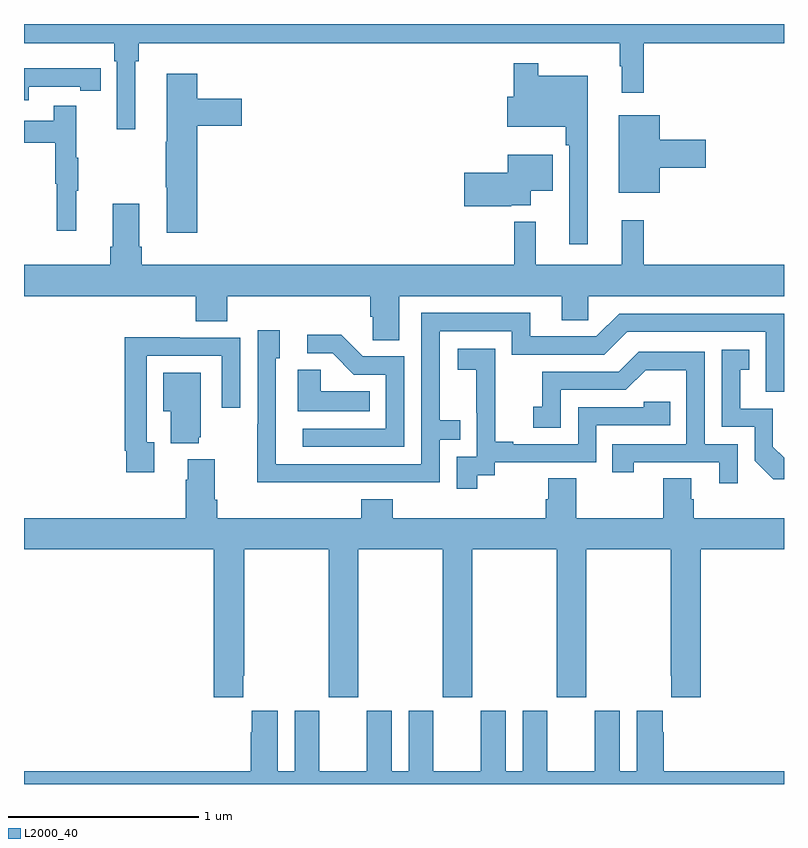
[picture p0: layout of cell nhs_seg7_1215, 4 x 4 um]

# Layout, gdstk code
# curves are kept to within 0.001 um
import gdstk
lib = gdstk.Library(unit=1e-6, precision=1e-09)
def P(c, l, *ps):  # polygons
    for p in ps: c.add(gdstk.Polygon(p, *l))
L2000_40 = (2000, 40)

nhs_seg7_1215 = lib.new_cell('nhs_seg7_1215')
P(nhs_seg7_1215, L2000_40, [(198.135,1049.777),(198.146,1049.777),(198.146,1049.637),(198.263,1049.637),(198.263,1049.9),(199,1049.9),(199,1050),(195,1050),(195,1049.9),(195.476,1049.9),(195.476,1049.804),(195.489,1049.804),(195.489,1049.445),(195.586,1049.445),(195.586,1049.804),(195.605,1049.804),(195.605,1049.9),(198.135,1049.9)],
  [(197.968,1049.728),(197.707,1049.728),(197.707,1049.794),(197.578,1049.794),(197.578,1049.617),(197.544,1049.617),(197.544,1049.459),(197.851,1049.459),(197.851,1049.363),(197.871,1049.363),(197.871,1048.842),(197.968,1048.842)],
  [(195.024,1049.67),(195.296,1049.67),(195.296,1049.65),(195.404,1049.65),(195.404,1049.766),(195.296,1049.766),(195.296,1049.767),(195,1049.767),(195,1049.598),(195.024,1049.598)],
  [(195.911,1049.465),(196.147,1049.465),(196.147,1049.607),(195.911,1049.607),(195.911,1049.737),(195.752,1049.737),(195.752,1049.381),(195.745,1049.381),(195.745,1049.14),(195.752,1049.14),(195.752,1048.902),(195.911,1048.902)],
  [(195.275,1049.123),(195.286,1049.123),(195.286,1049.297),(195.275,1049.297),(195.275,1049.569),(195.157,1049.569),(195.157,1049.49),(195,1049.49),(195,1049.374),(195.165,1049.374),(195.165,1049.16),(195.172,1049.16),(195.172,1048.911),(195.275,1048.911)],
  [(198.346,1049.243),(198.589,1049.243),(198.589,1049.39),(198.346,1049.39),(198.346,1049.521),(198.131,1049.521),(198.131,1049.111),(198.346,1049.111)],
  [(197.564,1049.045),(197.668,1049.045),(197.668,1049.123),(197.782,1049.123),(197.782,1049.311),(197.546,1049.311),(197.546,1049.216),(197.316,1049.216),(197.316,1049.04),(197.564,1049.04)],
  [(196.975,1048.568),(197.831,1048.568),(197.831,1048.441),(197.97,1048.441),(197.97,1048.568),(199,1048.568),(199,1048.732),(198.263,1048.732),(198.263,1048.966),(198.146,1048.966),(198.146,1048.732),(197.693,1048.732),(197.693,1048.96),(197.579,1048.96),(197.579,1048.732),(195.62,1048.732),(195.62,1048.828),(195.607,1048.828),(195.607,1049.053),(195.467,1049.053),(195.467,1048.828),(195.455,1048.828),(195.455,1048.732),(195,1048.732),(195,1048.568),(195.905,1048.568),(195.905,1048.435),(196.07,1048.435),(196.07,1048.568),(196.823,1048.568),(196.823,1048.459),(196.836,1048.459),(196.836,1048.336),(196.975,1048.336)],
  [(196.691,1047.588),(197.187,1047.588),(197.187,1047.813),(197.297,1047.813),(197.297,1047.914),(197.187,1047.914),(197.187,1048.383),(197.568,1048.383),(197.568,1048.26),(198.054,1048.26),(198.174,1048.38),(198.903,1048.38),(198.903,1048.065),(199,1048.065),(199,1048.476),(198.132,1048.476),(198.012,1048.356),(197.665,1048.356),(197.665,1048.479),(197.091,1048.479),(197.091,1047.684),(196.326,1047.684),(196.326,1048.242),(196.345,1048.242),(196.345,1048.387),(196.23,1048.387),(196.23,1047.893),(196.228,1047.893),(196.228,1047.587)],
  [(197.001,1048.251),(196.782,1048.251),(196.669,1048.364),(196.491,1048.364),(196.491,1048.266),(196.625,1048.266),(196.736,1048.155),(196.905,1048.155),(196.905,1047.87),(196.467,1047.87),(196.467,1047.774),(197.001,1047.774)],
  [(195.685,1047.798),(195.645,1047.798),(195.645,1048.254),(196.041,1048.254),(196.041,1047.981),(196.137,1047.981),(196.137,1048.35),(195.821,1048.35),(195.821,1048.352),(195.529,1048.352),(195.529,1047.754),(195.537,1047.754),(195.537,1047.642),(195.685,1047.642)],
  [(197.386,1047.625),(197.478,1047.625),(197.478,1047.693),(198.012,1047.693),(198.012,1047.888),(198.401,1047.888),(198.401,1048.011),(198.261,1048.011),(198.261,1047.984),(197.916,1047.984),(197.916,1047.789),(197.575,1047.789),(197.575,1047.802),(197.48,1047.802),(197.48,1048.085),(197.481,1048.085),(197.481,1048.291),(197.283,1048.291),(197.283,1048.181),(197.381,1048.181),(197.381,1047.953),(197.382,1047.953),(197.382,1047.723),(197.277,1047.723),(197.277,1047.555),(197.386,1047.555)],
  [(199,1047.716),(198.942,1047.774),(198.942,1047.975),(198.769,1047.975),(198.769,1048.179),(198.818,1048.179),(198.818,1048.285),(198.672,1048.285),(198.672,1047.879),(198.846,1047.879),(198.846,1047.702),(198.944,1047.605),(199,1047.605)],
  [(198.756,1047.789),(198.582,1047.789),(198.582,1048.275),(198.236,1048.275),(198.131,1048.17),(197.728,1048.17),(197.728,1047.985),(197.679,1047.985),(197.679,1047.876),(197.826,1047.876),(197.826,1048.074),(198.168,1048.074),(198.272,1048.178),(198.486,1048.178),(198.486,1047.789),(198.097,1047.789),(198.097,1047.642),(198.208,1047.642),(198.208,1047.693),(198.659,1047.693),(198.659,1047.582),(198.756,1047.582)],
  [(196.82,1048.066),(196.563,1048.066),(196.563,1048.181),(196.442,1048.181),(196.442,1047.962),(196.82,1047.962)],
  [(195.92,1047.825),(195.931,1047.825),(195.931,1048.165),(195.734,1048.165),(195.734,1047.962),(195.773,1047.962),(195.773,1047.794),(195.92,1047.794)],
  [(196.153,1046.569),(196.158,1046.569),(196.158,1047.236),(196.603,1047.236),(196.603,1046.457),(196.758,1046.457),(196.758,1047.236),(197.203,1047.236),(197.203,1046.457),(197.358,1046.457),(197.358,1047.236),(197.803,1047.236),(197.803,1046.457),(197.958,1046.457),(197.958,1047.236),(198.403,1047.236),(198.403,1046.569),(198.407,1046.569),(198.407,1046.457),(198.563,1046.457),(198.563,1047.236),(199,1047.236),(199,1047.4),(198.524,1047.4),(198.524,1047.498),(198.511,1047.498),(198.511,1047.608),(198.364,1047.608),(198.364,1047.4),(197.907,1047.4),(197.907,1047.608),(197.759,1047.608),(197.759,1047.498),(197.747,1047.498),(197.747,1047.4),(196.94,1047.4),(196.94,1047.499),(196.775,1047.499),(196.775,1047.4),(196.016,1047.4),(196.016,1047.496),(196.003,1047.496),(196.003,1047.709),(195.863,1047.709),(195.863,1047.602),(195.851,1047.602),(195.851,1047.4),(195,1047.4),(195,1047.236),(195.998,1047.236),(195.998,1046.457),(196.153,1046.457)],
  [(199,1046.068),(198.368,1046.068),(198.368,1046.273),(198.361,1046.273),(198.361,1046.386),(198.224,1046.386),(198.224,1046.068),(198.136,1046.068),(198.136,1046.386),(198.005,1046.386),(198.005,1046.068),(197.755,1046.068),(197.755,1046.386),(197.624,1046.386),(197.624,1046.068),(197.536,1046.068),(197.536,1046.386),(197.405,1046.386),(197.405,1046.068),(197.155,1046.068),(197.155,1046.386),(197.024,1046.386),(197.024,1046.068),(196.936,1046.068),(196.936,1046.386),(196.805,1046.386),(196.805,1046.068),(196.555,1046.068),(196.555,1046.386),(196.424,1046.386),(196.424,1046.068),(196.336,1046.068),(196.336,1046.386),(196.199,1046.386),(196.199,1046.273),(196.193,1046.273),(196.193,1046.068),(195,1046.068),(195,1046),(199,1046)])

lib.write_gds('nhs_seg7_1215.gds')
